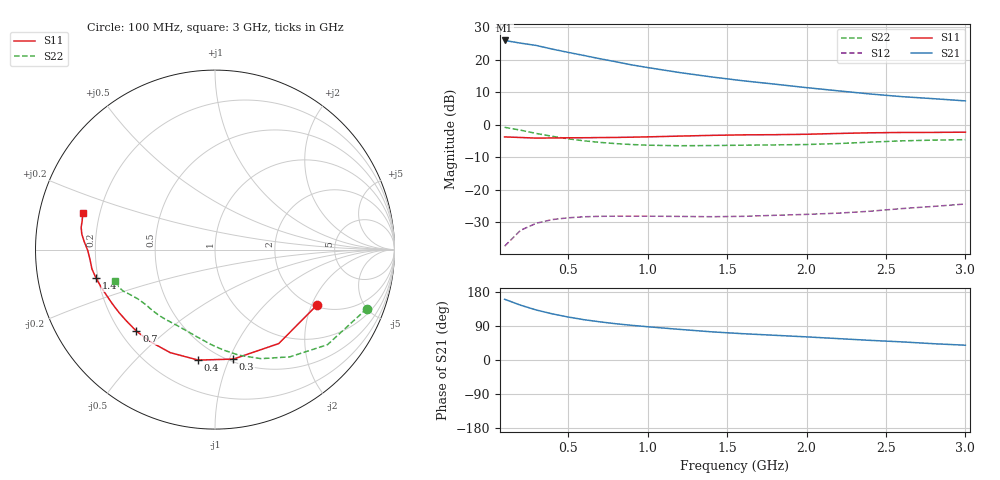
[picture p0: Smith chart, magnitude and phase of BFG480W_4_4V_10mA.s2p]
! Filename: 4_410BFG480.001
! Title: BFG480W
! Bias: Vce=4.4V; Ic=10mA
! Company: Philips Semiconductors NL
! User: Quality&Reliability T&D
! Measure time: 10 Nov 1999 / 12:05:15
#  MHz  S  MA  R 50
! Freq  S11  S21  S12  S22  :
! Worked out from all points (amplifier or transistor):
!   20 points, 100 MHz to 3 GHz, reference 50 ohm
!   highest |S21| = 25.9 dB at 100 MHz (marker M1)
!   |S21| within 3 dB of that: start of sweep to 433.4 MHz
!   unconditionally stable (mu >= 1): 1.668 GHz to end of sweep
!   at 400 MHz: K = 0.25, MSG = 26.2 dB, |S12| = -29.2 dB
!   at 1.2 GHz: K = 0.74, MSG = 22.1 dB, |S12| = -28.3 dB
!   at 3 GHz: K = 1.14, MAG = 13.6 dB, |S12| = -24.5 dB
!   S11 on the Smith chart (normalised r, x): 100 MHz: 2.04, -2.18; 300 MHz: 0.52, -1.04; 400 MHz: 0.39, -0.78; 700 MHz: 0.26, -0.40; 1.4 GHz: 0.19, -0.11; 3 GHz: 0.14, +0.13
100  0.6457 -28.8  19.71 160.3  0.01344 65.3  0.9076 -21.2
200  0.6327 -55.8  17.92 144.8  0.02357 55.1  0.8206 -40.2
300  0.6185 -80.5  16.5 131.8  0.03031 46.6  0.729 -55.0
400  0.6226 -98.6  14.5 121.8  0.03452 39.9  0.6598 -67.0
500  0.626 -113.5  12.92 113.4  0.03672 35.3  0.6039 -77.2
600  0.627 -125.2  11.56 106.3  0.03808 32.2  0.5621 -85.1
700  0.6308 -134.0  10.31 100.7  0.0387 30.3  0.5316 -91.8
800  0.6338 -141.3  9.269 95.7  0.0389 29.3  0.5088 -97.6
900  0.6396 -146.8  8.292 91.5  0.03891 29.0  0.4929 -102.9
1000  0.6467 -152.1  7.547 87.8  0.03893 29.2  0.4816 -107.9
1200  0.6644 -160.4  6.324 80.8  0.03858 30.8  0.4725 -116.8
1400  0.6819 -166.5  5.42 74.4  0.03818 33.6  0.4754 -124.2
1600  0.6942 -171.1  4.721 69.4  0.03868 38.3  0.4813 -130.0
1800  0.6988 -175.6  4.191 65.2  0.04012 43.5  0.4862 -135.6
2000  0.709 -179.6  3.703 61.0  0.04147 48.5  0.493 -141.6
2200  0.7298 176.6  3.304 56.4  0.04335 53.1  0.5103 -147.5
2400  0.747 173.4  2.958 51.8  0.04636 56.9  0.5365 -152.3
2600  0.7556 170.7  2.691 47.8  0.05092 60.3  0.5616 -155.7
2800  0.7575 167.8  2.502 43.0  0.05502 62.0  0.576 -158.9
3000  0.7639 164.5  2.315 39.0  0.0599 64.0  0.5857 -162.8
